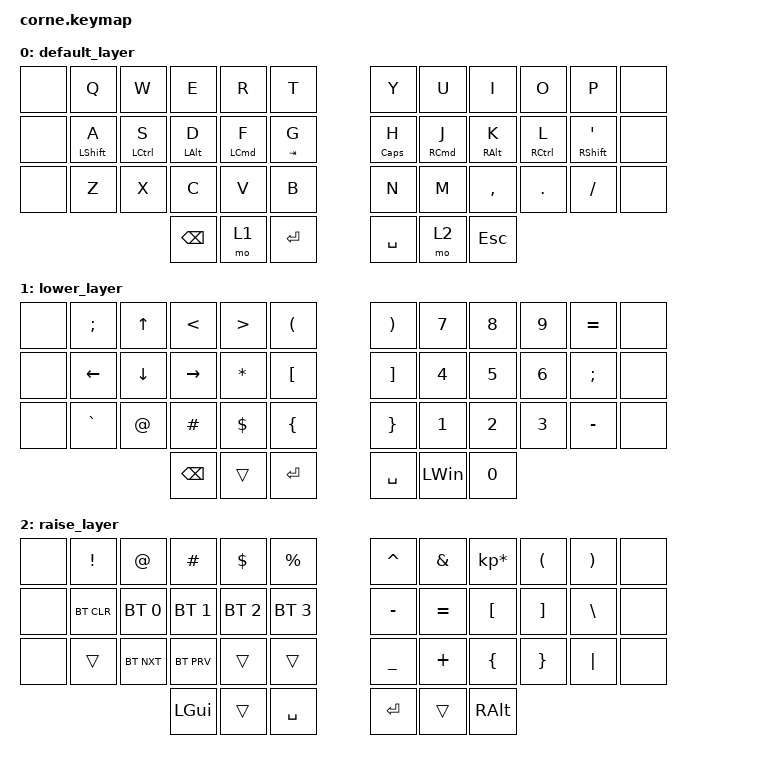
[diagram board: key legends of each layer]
/*
 * Copyright (c) 2020 The ZMK Contributors
 *
 * SPDX-License-Identifier: MIT
 */

#include <behaviors.dtsi>
#include <dt-bindings/zmk/bt.h>
#include <dt-bindings/zmk/keys.h>

/ {
    keymap {
        compatible = "zmk,keymap";

        default_layer {
            // -----------------------------------------------------------------------------------------
            // |  TAB |  Q  |  W  |  E  |  R  |  T  |   |  Y  |  U   |  I  |  O  |  P  | BKSP |
            // | CTRL |  A  |  S  |  D  |  F  |  G  |   |  H  |  J   |  K  |  L  |  ;  |  '   |
            // | SHFT |  Z  |  X  |  C  |  V  |  B  |   |  N  |  M   |  ,  |  .  |  /  | ESC  |
            //                    | GUI | LWR | SPC |   | ENT | RSE  | ALT |

            bindings = <
&none  &kp Q        &kp W        &kp E       &kp R               &kp T        &kp Y           &kp U                &kp I       &kp O        &kp P                 &none
&none  &mt LSHFT A  &mt LCTRL S  &mt LALT D  &mt LEFT_COMMAND F  &mt TAB G    &mt CAPSLOCK H  &mt RIGHT_COMMAND J  &mt RALT K  &mt RCTRL L  &mt RSHFT APOSTROPHE  &none
&none  &kp Z        &kp X        &kp C       &kp V               &kp B        &kp N           &kp M                &kp COMMA   &kp DOT      &kp FSLH              &none
                                 &kp BSPC    &mo 1               &kp RET      &kp SPACE       &mo 2                &kp ESC
            >;
        };

        lower_layer {
            // -----------------------------------------------------------------------------------------
            // |  TAB |  1  |  2  |  3  |  4  |  5  |   |  6  |  7  |  8  |  9  |  0  | BKSP |
            // | BTCLR| BT1 | BT2 | BT3 | BT4 | BT5 |   | LFT | DWN |  UP | RGT |     |      |
            // | SHFT |     |     |     |     |     |   |     |     |     |     |     |      |
            //                    | GUI |     | SPC |   | ENT |     | ALT |

            bindings = <
&none  &kp SEMICOLON   &kp UP_ARROW    &kp LESS_THAN    &kp GREATER_THAN  &kp LEFT_PARENTHESIS    &kp RIGHT_PARENTHESIS  &kp N7        &kp N8  &kp N9  &kp EQUAL  &none
&none  &kp LEFT_ARROW  &kp DOWN_ARROW  &kp RIGHT_ARROW  &kp ASTRK         &kp LEFT_BRACKET        &kp RIGHT_BRACKET      &kp N4        &kp N5  &kp N6  &kp SEMI   &none
&none  &kp GRAVE       &kp AT_SIGN     &kp POUND        &kp DOLLAR        &kp LEFT_BRACE          &kp RIGHT_BRACE        &kp N1        &kp N2  &kp N3  &kp MINUS  &none
                                       &kp BACKSPACE    &trans            &kp ENTER               &kp SPACE              &kp LEFT_WIN  &kp N0
            >;
        };

        raise_layer {
            // -----------------------------------------------------------------------------------------
            // |  TAB |  !  |  @  |  #  |  $  |  %  |   |  ^  |  &  |  *  |  (  |  )  | BKSP |
            // | CTRL |     |     |     |     |     |   |  -  |  =  |  [  |  ]  |  \  |  `   |
            // | SHFT |     |     |     |     |     |   |  _  |  +  |  {  |  }  | "|" |  ~   |
            //                    | GUI |     | SPC |   | ENT |     | ALT |

            bindings = <
&none  &kp EXCL    &kp AT        &kp HASH      &kp DLLR      &kp PRCNT       &kp CARET  &kp AMPS   &kp KP_MULTIPLY  &kp LPAR  &kp RPAR  &none
&none  &bt BT_CLR  &bt BT_SEL 0  &bt BT_SEL 1  &bt BT_SEL 2  &bt BT_SEL 3    &kp MINUS  &kp EQUAL  &kp LBKT         &kp RBKT  &kp BSLH  &none
&none  &trans      &bt BT_NXT    &bt BT_PRV    &trans        &trans          &kp UNDER  &kp PLUS   &kp LBRC         &kp RBRC  &kp PIPE  &none
                                 &kp LGUI      &trans        &kp SPACE       &kp RET    &trans     &kp RALT
            >;
        };
    };
};
